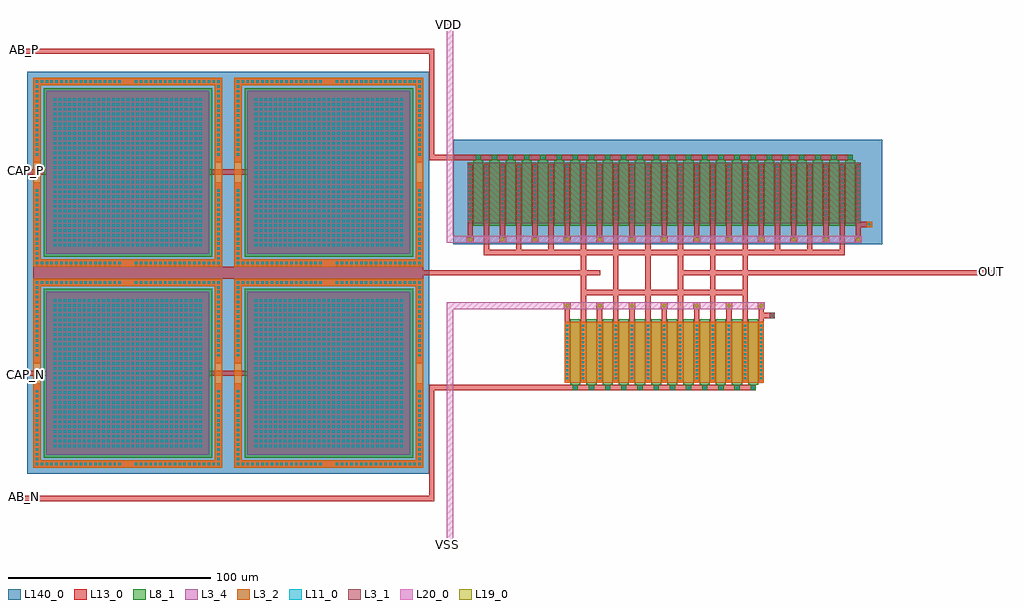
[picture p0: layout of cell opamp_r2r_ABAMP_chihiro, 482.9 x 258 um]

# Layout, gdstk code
from math import pi, radians
import gdstk
lib = gdstk.Library(unit=1e-6, precision=1e-07)
def R(c, l, rs):  # rectangles x0, y0, x1, y1
    for r in rs: c.add(gdstk.rectangle(r[:2], r[2:], *l))
def A(c, l, x, y, w, h, nx, ny, dx, dy):  # array of equal rectangles
    R(c, l, [(x+i*dx, y+j*dy, x+i*dx+w, y+j*dy+h) for i in range(nx) for j in range(ny)])
def P(c, l, *ps):  # polygons
    for p in ps: c.add(gdstk.Polygon(p, *l))
L3_1 = (3, 1)
L3_2 = (3, 2)
L3_4 = (3, 4)
L8_1 = (8, 1)
L11_0 = (11, 0)
L13_0 = (13, 0)
L19_0 = (19, 0)
L20_0 = (20, 0)
L140_0 = (140, 0)

moscap = lib.new_cell('moscap')
P(moscap, L3_2, [(-46.7,-46.7),(-46.7,43.1),(-43.1,43.1),(-43.1,-43.1),(43.1,-43.1),(43.1,43.1),(-46.7,43.1),(-46.7,46.7),(46.7,46.7),(46.7,-46.7)])
R(moscap, L3_4, [(-40.3,-40.3,40.3,40.3)])
R(moscap, L8_1, [(-41.7,-41.7,41.7,41.7)])
A(moscap, L11_0, -45.5, -45.5, 1.2, 1.2, 1, 18, 0, 2.4)
A(moscap, L11_0, -45.5, -45.5, 1.2, 1.2, 16, 2, 2.4, 89.8)
A(moscap, L11_0, 8.3, -45.5, 1.2, 1.2, 16, 2, 2.4, 89.8)
A(moscap, L11_0, 44.3, -45.5, 1.2, 1.2, 1, 18, 0, 2.4)
A(moscap, L11_0, -36.6, -36.6, 1.2, 1.2, 31, 31, 2.4, 2.4)
A(moscap, L11_0, -45.5, 3.5, 1.2, 1.2, 1, 18, 0, 2.4)
A(moscap, L11_0, 44.3, 3.5, 1.2, 1.2, 1, 18, 0, 2.4)
R(moscap, L13_0, [(-40.3,-40.3,40.3,40.3)])
P(moscap, L13_0, [(-46.7,-46.7),(-46.7,46.7),(-5,46.7),(-5,43.1),(-43.1,43.1),(-43.1,-43.1),(-5,-43.1),(-5,-46.7)],
  [(5,-46.7),(5,-43.1),(43.1,-43.1),(43.1,43.1),(5,43.1),(5,46.7),(46.7,46.7),(46.7,-46.7)])
R(moscap, L140_0, [(-49.7,-49.7,49.7,49.7)])

cont_p = lib.new_cell('cont_p')
R(cont_p, L3_1, [(-1.3,-1.3,1.3,1.3)])
R(cont_p, L11_0, [(-0.5,-0.5,0.5,0.5)])
R(cont_p, L13_0, [(-1.3,-1.3,1.3,1.3)])

cont_n = lib.new_cell('cont_n')
R(cont_n, L3_2, [(-1.3,-1.3,1.3,1.3)])
R(cont_n, L11_0, [(-0.5,-0.5,0.5,0.5)])
R(cont_n, L13_0, [(-1.3,-1.3,1.3,1.3)])

fet_p = lib.new_cell('fet_p')
R(fet_p, L3_1, [(-97.3,-15,97.3,15)])
A(fet_p, L11_0, -96.5, -13.5, 1, 1, 25, 14, 8, 2)
A(fet_p, L13_0, -97.3, -14.3, 2.6, 28.6, 25, 1, 8, 0)
fet_p.add(gdstk.FlexPath([(4,-16.2),(4,16.2)], 5, ends="flush", simple_path=True, layer=8, datatype=1))  # L8_1
fet_p.add(gdstk.FlexPath([(-4,-16.2),(-4,16.2)], 5, ends="flush", simple_path=True, layer=8, datatype=1))  # L8_1
fet_p.add(gdstk.FlexPath([(12,-16.2),(12,16.2)], 5, ends="flush", simple_path=True, layer=8, datatype=1))  # L8_1
fet_p.add(gdstk.FlexPath([(-12,-16.2),(-12,16.2)], 5, ends="flush", simple_path=True, layer=8, datatype=1))  # L8_1
fet_p.add(gdstk.FlexPath([(20,-16.2),(20,16.2)], 5, ends="flush", simple_path=True, layer=8, datatype=1))  # L8_1
fet_p.add(gdstk.FlexPath([(-20,-16.2),(-20,16.2)], 5, ends="flush", simple_path=True, layer=8, datatype=1))  # L8_1
fet_p.add(gdstk.FlexPath([(28,-16.2),(28,16.2)], 5, ends="flush", simple_path=True, layer=8, datatype=1))  # L8_1
fet_p.add(gdstk.FlexPath([(-28,-16.2),(-28,16.2)], 5, ends="flush", simple_path=True, layer=8, datatype=1))  # L8_1
fet_p.add(gdstk.FlexPath([(36,-16.2),(36,16.2)], 5, ends="flush", simple_path=True, layer=8, datatype=1))  # L8_1
fet_p.add(gdstk.FlexPath([(-36,-16.2),(-36,16.2)], 5, ends="flush", simple_path=True, layer=8, datatype=1))  # L8_1
fet_p.add(gdstk.FlexPath([(44,-16.2),(44,16.2)], 5, ends="flush", simple_path=True, layer=8, datatype=1))  # L8_1
fet_p.add(gdstk.FlexPath([(-44,-16.2),(-44,16.2)], 5, ends="flush", simple_path=True, layer=8, datatype=1))  # L8_1
fet_p.add(gdstk.FlexPath([(52,-16.2),(52,16.2)], 5, ends="flush", simple_path=True, layer=8, datatype=1))  # L8_1
fet_p.add(gdstk.FlexPath([(-52,-16.2),(-52,16.2)], 5, ends="flush", simple_path=True, layer=8, datatype=1))  # L8_1
fet_p.add(gdstk.FlexPath([(60,-16.2),(60,16.2)], 5, ends="flush", simple_path=True, layer=8, datatype=1))  # L8_1
fet_p.add(gdstk.FlexPath([(-60,-16.2),(-60,16.2)], 5, ends="flush", simple_path=True, layer=8, datatype=1))  # L8_1
fet_p.add(gdstk.FlexPath([(68,-16.2),(68,16.2)], 5, ends="flush", simple_path=True, layer=8, datatype=1))  # L8_1
fet_p.add(gdstk.FlexPath([(-68,-16.2),(-68,16.2)], 5, ends="flush", simple_path=True, layer=8, datatype=1))  # L8_1
fet_p.add(gdstk.FlexPath([(76,-16.2),(76,16.2)], 5, ends="flush", simple_path=True, layer=8, datatype=1))  # L8_1
fet_p.add(gdstk.FlexPath([(-76,-16.2),(-76,16.2)], 5, ends="flush", simple_path=True, layer=8, datatype=1))  # L8_1
fet_p.add(gdstk.FlexPath([(84,-16.2),(84,16.2)], 5, ends="flush", simple_path=True, layer=8, datatype=1))  # L8_1
fet_p.add(gdstk.FlexPath([(-84,-16.2),(-84,16.2)], 5, ends="flush", simple_path=True, layer=8, datatype=1))  # L8_1
fet_p.add(gdstk.FlexPath([(92,-16.2),(92,16.2)], 5, ends="flush", simple_path=True, layer=8, datatype=1))  # L8_1
fet_p.add(gdstk.FlexPath([(-92,-16.2),(-92,16.2)], 5, ends="flush", simple_path=True, layer=8, datatype=1))  # L8_1

via_1 = lib.new_cell('via_1')
R(via_1, L13_0, [(-1.7,-1.7,1.7,1.7)])
R(via_1, L19_0, [(-0.7,-0.7,0.7,0.7)])
R(via_1, L20_0, [(-1.7,-1.7,1.7,1.7)])

fet_n = lib.new_cell('fet_n')
R(fet_n, L3_2, [(-49.3,-15,49.3,15)])
A(fet_n, L11_0, -48.5, -13.5, 1, 1, 13, 14, 8, 2)
A(fet_n, L13_0, -49.3, -14.3, 2.6, 28.6, 13, 1, 8, 0)
fet_n.add(gdstk.FlexPath([(4,-16.2),(4,16.2)], 5, ends="flush", simple_path=True, layer=8, datatype=1))  # L8_1
fet_n.add(gdstk.FlexPath([(-4,-16.2),(-4,16.2)], 5, ends="flush", simple_path=True, layer=8, datatype=1))  # L8_1
fet_n.add(gdstk.FlexPath([(12,-16.2),(12,16.2)], 5, ends="flush", simple_path=True, layer=8, datatype=1))  # L8_1
fet_n.add(gdstk.FlexPath([(-12,-16.2),(-12,16.2)], 5, ends="flush", simple_path=True, layer=8, datatype=1))  # L8_1
fet_n.add(gdstk.FlexPath([(20,-16.2),(20,16.2)], 5, ends="flush", simple_path=True, layer=8, datatype=1))  # L8_1
fet_n.add(gdstk.FlexPath([(-20,-16.2),(-20,16.2)], 5, ends="flush", simple_path=True, layer=8, datatype=1))  # L8_1
fet_n.add(gdstk.FlexPath([(28,-16.2),(28,16.2)], 5, ends="flush", simple_path=True, layer=8, datatype=1))  # L8_1
fet_n.add(gdstk.FlexPath([(-28,-16.2),(-28,16.2)], 5, ends="flush", simple_path=True, layer=8, datatype=1))  # L8_1
fet_n.add(gdstk.FlexPath([(36,-16.2),(36,16.2)], 5, ends="flush", simple_path=True, layer=8, datatype=1))  # L8_1
fet_n.add(gdstk.FlexPath([(-36,-16.2),(-36,16.2)], 5, ends="flush", simple_path=True, layer=8, datatype=1))  # L8_1
fet_n.add(gdstk.FlexPath([(44,-16.2),(44,16.2)], 5, ends="flush", simple_path=True, layer=8, datatype=1))  # L8_1
fet_n.add(gdstk.FlexPath([(-44,-16.2),(-44,16.2)], 5, ends="flush", simple_path=True, layer=8, datatype=1))  # L8_1

cont_g = lib.new_cell('cont_g')
R(cont_g, L8_1, [(-1.3,-1.3,1.3,1.3)])
R(cont_g, L11_0, [(-0.5,-0.5,0.5,0.5)])
R(cont_g, L13_0, [(-1.3,-1.3,1.3,1.3)])

opamp_r2r_abamp_chihiro = lib.new_cell('opamp_r2r_ABAMP_chihiro')
R(opamp_r2r_abamp_chihiro, L13_0, [(-22524.3,-196010.7,-22331.5,-196004.7)])
R(opamp_r2r_abamp_chihiro, L140_0, [(-22316.5,-195993.5,-22104.4,-195941.8)])
opamp_r2r_abamp_chihiro.add(gdstk.FlexPath([(-22203.2,-196007.7),(-22046.1,-196007.7)], 2.6, ends="flush", simple_path=True, layer=13, datatype=0))  # L13_0
opamp_r2r_abamp_chihiro.add(gdstk.FlexPath([(-22236.2,-195982.5),(-22236.2,-195996.8)], 2.6, ends="flush", simple_path=True, layer=13, datatype=0))  # L13_0
opamp_r2r_abamp_chihiro.add(gdstk.FlexPath([(-22306,-195950.7),(-22118.9,-195950.7)], 2.6, ends="flush", simple_path=True, layer=13, datatype=0))  # L13_0
opamp_r2r_abamp_chihiro.add(gdstk.FlexPath([(-22290.7,-195950.7),(-22327.2,-195950.7),(-22327.2,-195898.1),(-22529,-195898.1)], 2.6, ends="flush", simple_path=True, layer=13, datatype=0))  # L13_0
opamp_r2r_abamp_chihiro.add(gdstk.FlexPath([(-22300.2,-195982.4),(-22300.2,-195996.4)], 2.6, ends="flush", simple_path=True, layer=13, datatype=0))  # L13_0
opamp_r2r_abamp_chihiro.add(gdstk.FlexPath([(-22284.2,-195982.4),(-22284.2,-195996.4)], 2.6, ends="flush", simple_path=True, layer=13, datatype=0))  # L13_0
opamp_r2r_abamp_chihiro.add(gdstk.FlexPath([(-22268.2,-195982.4),(-22268.2,-195996.4)], 2.6, ends="flush", simple_path=True, layer=13, datatype=0))  # L13_0
opamp_r2r_abamp_chihiro.add(gdstk.FlexPath([(-22252.2,-195982.4),(-22252.2,-195996.4)], 2.6, ends="flush", simple_path=True, layer=13, datatype=0))  # L13_0
opamp_r2r_abamp_chihiro.add(gdstk.FlexPath([(-22220.2,-195982.4),(-22220.2,-195996.4)], 2.6, ends="flush", simple_path=True, layer=13, datatype=0))  # L13_0
opamp_r2r_abamp_chihiro.add(gdstk.FlexPath([(-22204.2,-195982.4),(-22204.2,-195996.4)], 2.6, ends="flush", simple_path=True, layer=13, datatype=0))  # L13_0
opamp_r2r_abamp_chihiro.add(gdstk.FlexPath([(-22188.2,-195982.4),(-22188.2,-195996.4)], 2.6, ends="flush", simple_path=True, layer=13, datatype=0))  # L13_0
opamp_r2r_abamp_chihiro.add(gdstk.FlexPath([(-22172.2,-195982.4),(-22172.2,-195996.4)], 2.6, ends="flush", simple_path=True, layer=13, datatype=0))  # L13_0
opamp_r2r_abamp_chihiro.add(gdstk.FlexPath([(-22156.2,-195982.4),(-22156.2,-195996.4)], 2.6, ends="flush", simple_path=True, layer=13, datatype=0))  # L13_0
opamp_r2r_abamp_chihiro.add(gdstk.FlexPath([(-22140.2,-195982.4),(-22140.2,-195996.4)], 2.6, ends="flush", simple_path=True, layer=13, datatype=0))  # L13_0
opamp_r2r_abamp_chihiro.add(gdstk.FlexPath([(-22124.2,-195982.4),(-22124.2,-195996.4)], 2.6, ends="flush", simple_path=True, layer=13, datatype=0))  # L13_0
opamp_r2r_abamp_chihiro.add(gdstk.FlexPath([(-22122.9,-195997.7),(-22301.5,-195997.7)], 2.6, ends="flush", simple_path=True, layer=13, datatype=0))  # L13_0
opamp_r2r_abamp_chihiro.add(gdstk.FlexPath([(-22260.2,-196025.7),(-22260.2,-196032.7)], 2.6, ends="flush", simple_path=True, layer=13, datatype=0))  # L13_0
opamp_r2r_abamp_chihiro.add(gdstk.FlexPath([(-22109.4,-195983.8),(-22114.9,-195983.8)], 2.6, ends="flush", simple_path=True, layer=13, datatype=0))  # L13_0
opamp_r2r_abamp_chihiro.add(gdstk.FlexPath([(-22252.2,-196018.7),(-22252.2,-196032.7)], 2.6, ends="flush", simple_path=True, layer=13, datatype=0))  # L13_0
opamp_r2r_abamp_chihiro.add(gdstk.FlexPath([(-22252.2,-195996.4),(-22252.2,-196018.7)], 2.6, ends="flush", simple_path=True, layer=13, datatype=0))  # L13_0
opamp_r2r_abamp_chihiro.add(gdstk.FlexPath([(-22252.3,-196017.4),(-22172.2,-196017.4)], 2.6, ends="flush", simple_path=True, layer=13, datatype=0))  # L13_0
opamp_r2r_abamp_chihiro.add(gdstk.FlexPath([(-22256,-196064.5),(-22166.9,-196064.5)], 2.6, ends="flush", simple_path=True, layer=13, datatype=0))  # L13_0
opamp_r2r_abamp_chihiro.add(gdstk.FlexPath([(-22157.5,-196028.9),(-22162.9,-196028.9)], 2.6, ends="flush", simple_path=True, layer=13, datatype=0))  # L13_0
opamp_r2r_abamp_chihiro.add(gdstk.FlexPath([(-22244.2,-196025.7),(-22244.2,-196032.7)], 2.6, ends="flush", simple_path=True, layer=13, datatype=0))  # L13_0
opamp_r2r_abamp_chihiro.add(gdstk.FlexPath([(-22228.2,-196025.7),(-22228.2,-196032.7)], 2.6, ends="flush", simple_path=True, layer=13, datatype=0))  # L13_0
opamp_r2r_abamp_chihiro.add(gdstk.FlexPath([(-22212.2,-196025.7),(-22212.2,-196032.7)], 2.6, ends="flush", simple_path=True, layer=13, datatype=0))  # L13_0
opamp_r2r_abamp_chihiro.add(gdstk.FlexPath([(-22196.2,-196025.7),(-22196.2,-196032.7)], 2.6, ends="flush", simple_path=True, layer=13, datatype=0))  # L13_0
opamp_r2r_abamp_chihiro.add(gdstk.FlexPath([(-22180.2,-196025.7),(-22180.2,-196032.7)], 2.6, ends="flush", simple_path=True, layer=13, datatype=0))  # L13_0
opamp_r2r_abamp_chihiro.add(gdstk.FlexPath([(-22236.2,-196018.7),(-22236.2,-196032.7)], 2.6, ends="flush", simple_path=True, layer=13, datatype=0))  # L13_0
opamp_r2r_abamp_chihiro.add(gdstk.FlexPath([(-22220.2,-196018.7),(-22220.2,-196032.7)], 2.6, ends="flush", simple_path=True, layer=13, datatype=0))  # L13_0
opamp_r2r_abamp_chihiro.add(gdstk.FlexPath([(-22204.2,-196018.7),(-22204.2,-196032.7)], 2.6, ends="flush", simple_path=True, layer=13, datatype=0))  # L13_0
opamp_r2r_abamp_chihiro.add(gdstk.FlexPath([(-22188.2,-196018.7),(-22188.2,-196032.7)], 2.6, ends="flush", simple_path=True, layer=13, datatype=0))  # L13_0
opamp_r2r_abamp_chihiro.add(gdstk.FlexPath([(-22292.2,-195982.4),(-22292.2,-195989.4)], 2.6, ends="flush", simple_path=True, layer=13, datatype=0))  # L13_0
opamp_r2r_abamp_chihiro.add(gdstk.FlexPath([(-22276.2,-195982.4),(-22276.2,-195989.4)], 2.6, ends="flush", simple_path=True, layer=13, datatype=0))  # L13_0
opamp_r2r_abamp_chihiro.add(gdstk.FlexPath([(-22260.2,-195982.4),(-22260.2,-195989.4)], 2.6, ends="flush", simple_path=True, layer=13, datatype=0))  # L13_0
opamp_r2r_abamp_chihiro.add(gdstk.FlexPath([(-22244.2,-195982.4),(-22244.2,-195989.4)], 2.6, ends="flush", simple_path=True, layer=13, datatype=0))  # L13_0
opamp_r2r_abamp_chihiro.add(gdstk.FlexPath([(-22228.2,-195982.4),(-22228.2,-195989.4)], 2.6, ends="flush", simple_path=True, layer=13, datatype=0))  # L13_0
opamp_r2r_abamp_chihiro.add(gdstk.FlexPath([(-22212.2,-195982.4),(-22212.2,-195989.4)], 2.6, ends="flush", simple_path=True, layer=13, datatype=0))  # L13_0
opamp_r2r_abamp_chihiro.add(gdstk.FlexPath([(-22196.2,-195982.4),(-22196.2,-195989.4)], 2.6, ends="flush", simple_path=True, layer=13, datatype=0))  # L13_0
opamp_r2r_abamp_chihiro.add(gdstk.FlexPath([(-22180.2,-195982.4),(-22180.2,-195989.4)], 2.6, ends="flush", simple_path=True, layer=13, datatype=0))  # L13_0
opamp_r2r_abamp_chihiro.add(gdstk.FlexPath([(-22164.2,-195982.4),(-22164.2,-195989.4)], 2.6, ends="flush", simple_path=True, layer=13, datatype=0))  # L13_0
opamp_r2r_abamp_chihiro.add(gdstk.FlexPath([(-22148.2,-195982.4),(-22148.2,-195989.4)], 2.6, ends="flush", simple_path=True, layer=13, datatype=0))  # L13_0
opamp_r2r_abamp_chihiro.add(gdstk.FlexPath([(-22132.2,-195982.4),(-22132.2,-195989.4)], 2.6, ends="flush", simple_path=True, layer=13, datatype=0))  # L13_0
opamp_r2r_abamp_chihiro.add(gdstk.FlexPath([(-22116.2,-195982.4),(-22116.2,-195989.4)], 2.6, ends="flush", simple_path=True, layer=13, datatype=0))  # L13_0
opamp_r2r_abamp_chihiro.add(gdstk.FlexPath([(-22172.2,-196018.7),(-22172.2,-196032.7)], 2.6, ends="flush", simple_path=True, layer=13, datatype=0))  # L13_0
opamp_r2r_abamp_chihiro.add(gdstk.FlexPath([(-22236.2,-195996.4),(-22236.2,-196018.7)], 2.6, ends="flush", simple_path=True, layer=13, datatype=0))  # L13_0
opamp_r2r_abamp_chihiro.add(gdstk.FlexPath([(-22220.2,-195996.4),(-22220.2,-196018.7)], 2.6, ends="flush", simple_path=True, layer=13, datatype=0))  # L13_0
opamp_r2r_abamp_chihiro.add(gdstk.FlexPath([(-22204.2,-195996.4),(-22204.2,-196018.7)], 2.6, ends="flush", simple_path=True, layer=13, datatype=0))  # L13_0
opamp_r2r_abamp_chihiro.add(gdstk.FlexPath([(-22188.2,-195996.4),(-22188.2,-196018.7)], 2.6, ends="flush", simple_path=True, layer=13, datatype=0))  # L13_0
opamp_r2r_abamp_chihiro.add(gdstk.FlexPath([(-22172.2,-195996.4),(-22172.2,-196018.7)], 2.6, ends="flush", simple_path=True, layer=13, datatype=0))  # L13_0
opamp_r2r_abamp_chihiro.add(gdstk.FlexPath([(-22164.2,-196025.7),(-22164.2,-196032.7)], 2.6, ends="flush", simple_path=True, layer=13, datatype=0))  # L13_0
opamp_r2r_abamp_chihiro.add(gdstk.FlexPath([(-22248.7,-196064.5),(-22327.2,-196064.5),(-22327.2,-196119.4),(-22529,-196119.4)], 2.6, ends="flush", simple_path=True, layer=13, datatype=0))  # L13_0
opamp_r2r_abamp_chihiro.add(gdstk.FlexPath([(-22308.2,-195982.4),(-22308.2,-195989.4)], 2.6, ends="flush", simple_path=True, layer=13, datatype=0))  # L13_0
opamp_r2r_abamp_chihiro.add(gdstk.FlexPath([(-22337.8,-195957.8),(-22529,-195957.8)], 2.6, ends="flush", simple_path=True, layer=13, datatype=0))  # L13_0
opamp_r2r_abamp_chihiro.add(gdstk.FlexPath([(-22337.8,-196057.4),(-22529,-196057.4)], 2.6, ends="flush", simple_path=True, layer=13, datatype=0))  # L13_0
opamp_r2r_abamp_chihiro.add(gdstk.FlexPath([(-22243.9,-196007.7),(-22332.6,-196007.7)], 2.6, ends="flush", simple_path=True, layer=13, datatype=0))  # L13_0
opamp_r2r_abamp_chihiro.add(gdstk.FlexPath([(-22309.9,-195991.1),(-22114.5,-195991.1)], 3.4, ends="flush", simple_path=True, layer=20, datatype=0))  # L20_0
opamp_r2r_abamp_chihiro.add(gdstk.FlexPath([(-22268.6,-196024),(-22163.4,-196024)], 3.4, ends="flush", simple_path=True, layer=20, datatype=0))  # L20_0
opamp_r2r_abamp_chihiro.add(gdstk.FlexPath([(-22309.9,-195991.1),(-22318.2,-195991.1),(-22318.2,-195884.5)], 3.4, ends="flush", simple_path=True, layer=20, datatype=0))  # L20_0
opamp_r2r_abamp_chihiro.add(gdstk.FlexPath([(-22267.9,-196024),(-22318.2,-196024),(-22318.2,-196142.5)], 3.4, ends="flush", simple_path=True, layer=20, datatype=0))  # L20_0
opamp_r2r_abamp_chihiro.add(gdstk.Reference(moscap, (-22477.6,-195958), rotation=pi/2))
opamp_r2r_abamp_chihiro.add(gdstk.Reference(moscap, (-22378.2,-195958), rotation=pi/2))
opamp_r2r_abamp_chihiro.add(gdstk.Reference(moscap, (-22477.6,-196057.4), rotation=pi/2))
opamp_r2r_abamp_chihiro.add(gdstk.Reference(moscap, (-22378.2,-196057.4), rotation=pi/2))
opamp_r2r_abamp_chihiro.add(gdstk.Reference(cont_p, (-22158.8,-196028.9)))
opamp_r2r_abamp_chihiro.add(gdstk.Reference(cont_n, (-22110.7,-195983.8)))
opamp_r2r_abamp_chihiro.add(gdstk.Reference(fet_p, (-22212.2,-195968.2)))
opamp_r2r_abamp_chihiro.add(gdstk.Reference(via_1, (-22164.2,-196024)))
opamp_r2r_abamp_chihiro.add(gdstk.Reference(via_1, (-22180.2,-196024)))
opamp_r2r_abamp_chihiro.add(gdstk.Reference(via_1, (-22196.2,-196024)))
opamp_r2r_abamp_chihiro.add(gdstk.Reference(via_1, (-22212.2,-196024)))
opamp_r2r_abamp_chihiro.add(gdstk.Reference(via_1, (-22228.2,-196024)))
opamp_r2r_abamp_chihiro.add(gdstk.Reference(via_1, (-22244.2,-196024)))
opamp_r2r_abamp_chihiro.add(gdstk.Reference(via_1, (-22116.2,-195991.1)))
opamp_r2r_abamp_chihiro.add(gdstk.Reference(via_1, (-22132.2,-195991.1)))
opamp_r2r_abamp_chihiro.add(gdstk.Reference(via_1, (-22148.2,-195991.1)))
opamp_r2r_abamp_chihiro.add(gdstk.Reference(via_1, (-22164.2,-195991.1)))
opamp_r2r_abamp_chihiro.add(gdstk.Reference(via_1, (-22180.2,-195991.1)))
opamp_r2r_abamp_chihiro.add(gdstk.Reference(via_1, (-22196.2,-195991.1)))
opamp_r2r_abamp_chihiro.add(gdstk.Reference(via_1, (-22212.2,-195991.1)))
opamp_r2r_abamp_chihiro.add(gdstk.Reference(via_1, (-22228.2,-195991.1)))
opamp_r2r_abamp_chihiro.add(gdstk.Reference(via_1, (-22244.2,-195991.1)))
opamp_r2r_abamp_chihiro.add(gdstk.Reference(via_1, (-22260.2,-195991.1)))
opamp_r2r_abamp_chihiro.add(gdstk.Reference(via_1, (-22276.2,-195991.1)))
opamp_r2r_abamp_chihiro.add(gdstk.Reference(via_1, (-22292.2,-195991.1)))
opamp_r2r_abamp_chihiro.add(gdstk.Reference(via_1, (-22260.2,-196024)))
opamp_r2r_abamp_chihiro.add(gdstk.Reference(via_1, (-22308.2,-195991.1)))
opamp_r2r_abamp_chihiro.add(gdstk.Reference(fet_n, (-22212.2,-196047)))
opamp_r2r_abamp_chihiro.add(gdstk.Reference(cont_g, (-22120.2,-195950.7)))
opamp_r2r_abamp_chihiro.add(gdstk.Reference(cont_g, (-22128.2,-195950.7)))
opamp_r2r_abamp_chihiro.add(gdstk.Reference(cont_g, (-22136.2,-195950.7)))
opamp_r2r_abamp_chihiro.add(gdstk.Reference(cont_g, (-22144.2,-195950.7)))
opamp_r2r_abamp_chihiro.add(gdstk.Reference(cont_g, (-22152.2,-195950.7)))
opamp_r2r_abamp_chihiro.add(gdstk.Reference(cont_g, (-22160.2,-195950.7)))
opamp_r2r_abamp_chihiro.add(gdstk.Reference(cont_g, (-22168.2,-195950.7)))
opamp_r2r_abamp_chihiro.add(gdstk.Reference(cont_g, (-22176.2,-195950.7)))
opamp_r2r_abamp_chihiro.add(gdstk.Reference(cont_g, (-22184.2,-195950.7)))
opamp_r2r_abamp_chihiro.add(gdstk.Reference(cont_g, (-22192.2,-195950.7)))
opamp_r2r_abamp_chihiro.add(gdstk.Reference(cont_g, (-22200.2,-195950.7)))
opamp_r2r_abamp_chihiro.add(gdstk.Reference(cont_g, (-22208.2,-195950.7)))
opamp_r2r_abamp_chihiro.add(gdstk.Reference(cont_g, (-22216.2,-195950.7)))
opamp_r2r_abamp_chihiro.add(gdstk.Reference(cont_g, (-22224.2,-195950.7)))
opamp_r2r_abamp_chihiro.add(gdstk.Reference(cont_g, (-22232.2,-195950.7)))
opamp_r2r_abamp_chihiro.add(gdstk.Reference(cont_g, (-22240.2,-195950.7)))
opamp_r2r_abamp_chihiro.add(gdstk.Reference(cont_g, (-22248.2,-195950.7)))
opamp_r2r_abamp_chihiro.add(gdstk.Reference(cont_g, (-22256.2,-195950.7)))
opamp_r2r_abamp_chihiro.add(gdstk.Reference(cont_g, (-22264.2,-195950.7)))
opamp_r2r_abamp_chihiro.add(gdstk.Reference(cont_g, (-22272.2,-195950.7)))
opamp_r2r_abamp_chihiro.add(gdstk.Reference(cont_g, (-22280.2,-195950.7)))
opamp_r2r_abamp_chihiro.add(gdstk.Reference(cont_g, (-22288.2,-195950.7)))
opamp_r2r_abamp_chihiro.add(gdstk.Reference(cont_g, (-22296.2,-195950.7)))
opamp_r2r_abamp_chihiro.add(gdstk.Reference(cont_g, (-22304.2,-195950.7)))
opamp_r2r_abamp_chihiro.add(gdstk.Reference(cont_g, (-22168.2,-196064.5)))
opamp_r2r_abamp_chihiro.add(gdstk.Reference(cont_g, (-22176.2,-196064.5)))
opamp_r2r_abamp_chihiro.add(gdstk.Reference(cont_g, (-22184.2,-196064.5)))
opamp_r2r_abamp_chihiro.add(gdstk.Reference(cont_g, (-22192.2,-196064.5)))
opamp_r2r_abamp_chihiro.add(gdstk.Reference(cont_g, (-22200.2,-196064.5)))
opamp_r2r_abamp_chihiro.add(gdstk.Reference(cont_g, (-22208.2,-196064.5)))
opamp_r2r_abamp_chihiro.add(gdstk.Reference(cont_g, (-22216.2,-196064.5)))
opamp_r2r_abamp_chihiro.add(gdstk.Reference(cont_g, (-22224.2,-196064.5)))
opamp_r2r_abamp_chihiro.add(gdstk.Reference(cont_g, (-22232.2,-196064.5)))
opamp_r2r_abamp_chihiro.add(gdstk.Reference(cont_g, (-22240.2,-196064.5)))
opamp_r2r_abamp_chihiro.add(gdstk.Reference(cont_g, (-22248.2,-196064.5)))
opamp_r2r_abamp_chihiro.add(gdstk.Reference(cont_g, (-22256.2,-196064.5)))
opamp_r2r_abamp_chihiro.add(gdstk.Label('chihiro', (-22630.2,-195841.7), layer=3, texttype=2))
opamp_r2r_abamp_chihiro.add(gdstk.Label('OUT', (-22050.1,-196007.2), layer=48, texttype=0))
opamp_r2r_abamp_chihiro.add(gdstk.Label('AB_P', (-22528.6,-195897.3), layer=48, texttype=0))
opamp_r2r_abamp_chihiro.add(gdstk.Label('CAP_P', (-22528.3,-195957.2), layer=48, texttype=0))
opamp_r2r_abamp_chihiro.add(gdstk.Label('CAP_N', (-22528.4,-196058.2), layer=48, texttype=0))
opamp_r2r_abamp_chihiro.add(gdstk.Label('AB_N', (-22528.6,-196118.6), layer=48, texttype=0))
opamp_r2r_abamp_chihiro.add(gdstk.Label('VSS', (-22319.3,-196141.9), layer=49, texttype=0))
opamp_r2r_abamp_chihiro.add(gdstk.Label('VDD', (-22319.1,-195885.1), layer=49, texttype=0))

lib.write_gds('opamp_r2r_ABAMP_chihiro.gds')
